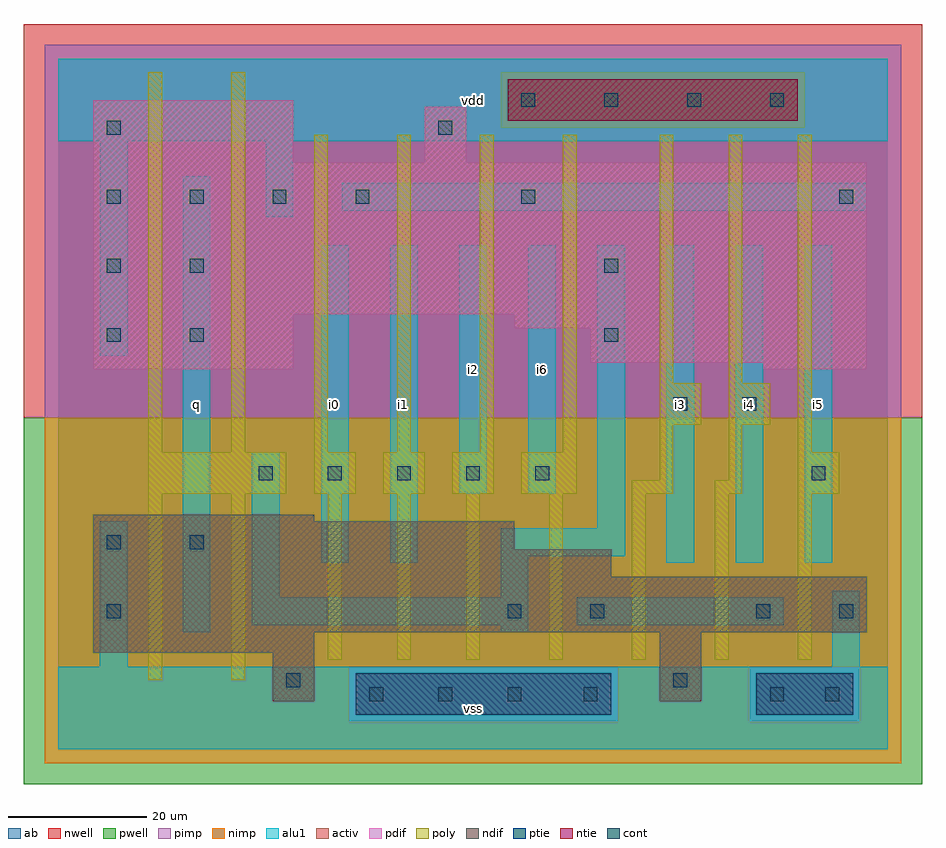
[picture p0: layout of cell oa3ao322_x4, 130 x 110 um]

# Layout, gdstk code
import gdstk
lib = gdstk.Library(unit=1e-6, precision=1e-09)
def R(c, l, rs):  # rectangles x0, y0, x1, y1
    for r in rs: c.add(gdstk.rectangle(r[:2], r[2:], *l))
def A(c, l, x, y, w, h, nx, ny, dx, dy):  # array of equal rectangles
    R(c, l, [(x+i*dx, y+j*dy, x+i*dx+w, y+j*dy+h) for i in range(nx) for j in range(ny)])
ndif = (3, 0)
pdif = (4, 0)
ntie = (5, 0)
ptie = (6, 0)
cont = (25, 0)
pwell = (41, 0)
nwell = (42, 0)
activ = (43, 0)
pimp = (44, 0)
nimp = (45, 0)
poly = (46, 0)
alu1 = (49, 0)
ab = (63, 0)

oa3ao322_x4 = lib.new_cell('oa3ao322_x4')
R(oa3ao322_x4, ndif, [(31,7,37,14), (87,7,93,17), (5,14,37,17), (5,17,117,25), (5,25,80,29), (5,29,66,33), (5,33,37,34)])
R(oa3ao322_x4, pdif, [(5,55,34,63), (102,55,117,56), (77,56,117,61), (66,61,117,63), (5,63,117,85), (5,85,34,94), (53,85,59,93)])
R(oa3ao322_x4, ntie, [(65,91,107,97)])
R(oa3ao322_x4, ptie, [(43,5,80,11), (101,5,115,11)])
A(oa3ao322_x4, cont, 45, 7, 2, 2, 3, 1, 10, 0)
A(oa3ao322_x4, cont, 29, 39, 2, 2, 5, 1, 10, 0)
A(oa3ao322_x4, cont, 7, 79, 2, 2, 4, 1, 12, 0)
A(oa3ao322_x4, cont, 67, 93, 2, 2, 4, 1, 12, 0)
R(oa3ao322_x4, cont, [(76,7,78,9), (103,7,105,9), (111,7,113,9), (33,9,35,11), (89,9,91,11), (7,19,9,21), (65,19,67,21), (77,19,79,21), (101,19,103,21), (113,19,115,21), (7,29,9,31), (19,29,21,31), (109,39,111,41), (89,49,91,51), (99,49,101,51), (7,59,9,61), (19,59,21,61), (79,59,81,61), (7,69,9,71), (19,69,21,71), (79,69,81,71), (67,79,69,81), (113,79,115,81), (7,89,9,91), (55,89,57,91)])
R(oa3ao322_x4, pwell, [(-5,-5,125,48)])
R(oa3ao322_x4, nwell, [(-5,48,125,105)])
R(oa3ao322_x4, activ, [(43,5,80,11), (101,5,115,11), (31,7,37,14), (87,7,93,17), (5,14,37,17), (5,17,117,25), (5,25,80,29), (5,29,66,33), (5,33,37,34), (5,55,34,63), (102,55,117,56), (77,56,117,61), (66,61,117,63), (5,63,117,85), (5,85,34,94), (53,85,59,93), (65,91,107,97)])
R(oa3ao322_x4, pimp, [(42,4,81,12), (100,4,116,12), (-2,48,122,90), (-2,90,64,98), (108,90,122,98), (-2,98,122,102)])
R(oa3ao322_x4, nimp, [(-2,-2,122,4), (-2,4,42,12), (81,4,100,12), (116,4,122,12), (-2,12,122,48), (64,90,108,98)])
A(oa3ao322_x4, poly, 39, 13, 2, 24, 3, 1, 10, 0)
A(oa3ao322_x4, poly, 71, 13, 2, 24, 4, 1, 12, 0)
A(oa3ao322_x4, poly, 37, 37, 6, 6, 3, 1, 10, 0)
A(oa3ao322_x4, poly, 37, 43, 2, 46, 4, 1, 12, 0)
R(oa3ao322_x4, poly, [(13,10,15,37), (25,10,27,37), (13,37,33,43), (67,37,75,43), (83,37,89,39), (95,37,99,39), (107,37,113,43), (87,39,89,47), (97,39,99,47), (13,43,15,98), (25,43,27,98), (107,43,109,89), (87,47,93,53), (97,47,103,53), (87,53,89,89), (97,53,99,89)])
A(oa3ao322_x4, alu1, 88, 27, 4, 46, 3, 1, 10, 0)
R(oa3ao322_x4, alu1, [(0,0,120,12), (6,12,10,33), (112,12,116,23), (18,17,22,83), (64,17,68,18), (28,18,68,22), (75,18,105,22), (28,22,32,43), (64,22,68,28), (38,27,42,73), (48,27,52,73), (64,28,82,32), (78,32,82,73), (58,37,62,73), (68,37,72,73), (6,57,10,88), (30,77,34,88), (41,78,117,82), (0,88,120,100)])
R(oa3ao322_x4, ab, [(0,0,120,100)])
oa3ao322_x4.add(gdstk.Label('q', (20,50), layer=49, texttype=0))
oa3ao322_x4.add(gdstk.Label('i1', (50,50), layer=49, texttype=0))
oa3ao322_x4.add(gdstk.Label('i0', (40,50), layer=49, texttype=0))
oa3ao322_x4.add(gdstk.Label('vss', (60,6), layer=49, texttype=0))
oa3ao322_x4.add(gdstk.Label('i2', (60,55), layer=49, texttype=0))
oa3ao322_x4.add(gdstk.Label('i6', (70,55), layer=49, texttype=0))
oa3ao322_x4.add(gdstk.Label('vdd', (60,94), layer=49, texttype=0))
oa3ao322_x4.add(gdstk.Label('i4', (100,50), layer=49, texttype=0))
oa3ao322_x4.add(gdstk.Label('i5', (110,50), layer=49, texttype=0))
oa3ao322_x4.add(gdstk.Label('i3', (90,50), layer=49, texttype=0))

lib.write_gds('oa3ao322_x4.gds')
